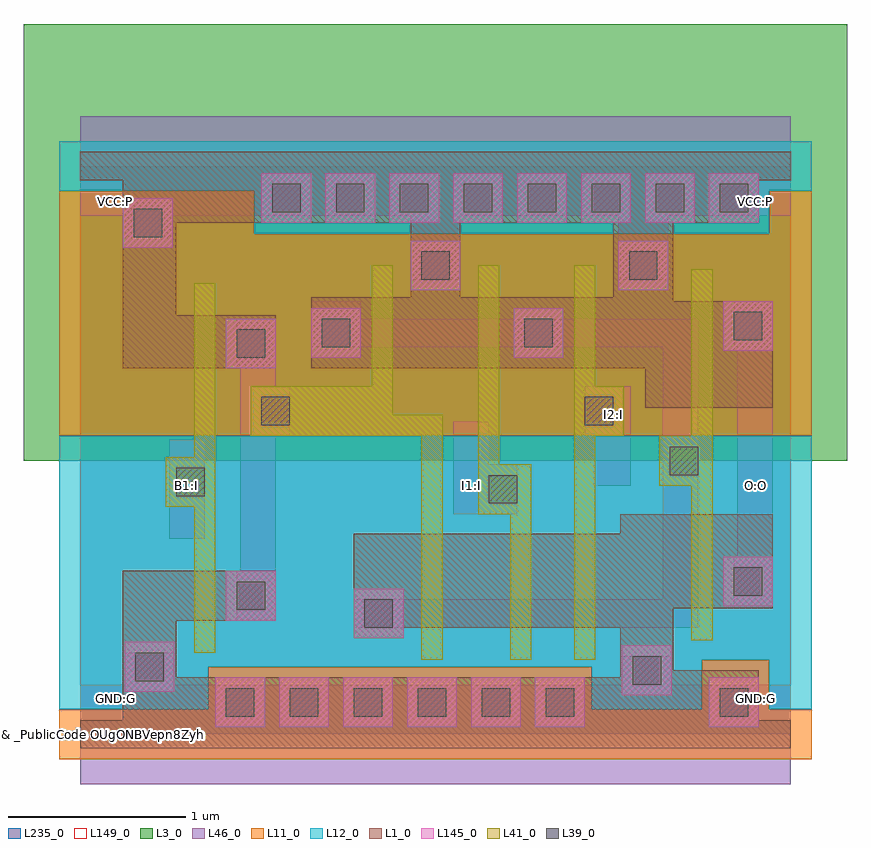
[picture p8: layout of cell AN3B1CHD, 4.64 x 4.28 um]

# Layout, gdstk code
from math import pi, radians
import gdstk
lib = gdstk.Library(unit=1e-6, precision=1e-09)
def R(c, l, rs):  # rectangles x0, y0, x1, y1
    for r in rs: c.add(gdstk.rectangle(r[:2], r[2:], *l))
def P(c, l, *ps):  # polygons
    for p in ps: c.add(gdstk.Polygon(p, *l))
L1_0 = (1, 0)
L3_0 = (3, 0)
L11_0 = (11, 0)
L12_0 = (12, 0)
L39_0 = (39, 0)
L41_0 = (41, 0)
L46_0 = (46, 0)
L145_0 = (145, 0)
L149_0 = (149, 0)
L235_0 = (235, 0)

c_pc = lib.new_cell('PC')
R(c_pc, L39_0, [(-0.08,-0.08,0.08,0.08)])
R(c_pc, L41_0, [(-0.14,-0.14,0.14,0.14)])
R(c_pc, L46_0, [(-0.08,-0.14,0.08,0.14)])

c_mc = lib.new_cell('MC')
R(c_mc, L39_0, [(-0.08,-0.08,0.08,0.08)])
R(c_mc, L46_0, [(-0.08,-0.14,0.08,0.14)])
R(c_mc, L145_0, [(-0.14,-0.14,0.14,0.14)])

ihlenmbacpo__41gum4xw0 = lib.new_cell('IHLENMBACPO$$41Gum4XW0')
R(ihlenmbacpo__41gum4xw0, L1_0, [(0,-0.08,4,0.08), (3.34,0.08,3.82,0.36), (1.3,2.06,1.86,2.46), (0,3.12,4,3.28)])
P(ihlenmbacpo__41gum4xw0, L1_0, [(1.1,0.92),(0.24,0.92),(0.24,0.08),(0.54,0.08),(0.54,0.64),(1.1,0.64)],
  [(0.54,3.12),(0.24,3.12),(0.24,2.06),(1.1,2.06),(1.1,2.36),(0.54,2.36)],
  [(3.9,1.24),(3.04,1.24),(3.04,0.32),(0.54,0.32),(0.54,0.08),(3.34,0.08),(3.34,0.71),(3.9,0.71)],
  [(3.04,1.13),(1.54,1.13),(1.54,0.54),(1.82,0.54),(1.82,0.6),(3.04,0.6)],
  [(3.9,2.44),(3.34,2.44),(3.34,2.88),(3.82,2.88),(3.82,3.12),(3,3.12),(3,2.46),(2.14,2.46),(2.14,2.88),(3,2.88),(3,3.12),(0.54,3.12),(0.54,2.88),(1.86,2.88),(1.86,2.06),(3.18,2.06),(3.18,1.84),(3.9,1.84)])
R(ihlenmbacpo__41gum4xw0, L3_0, [(-0.32,1.54,4.32,4)])
R(ihlenmbacpo__41gum4xw0, L11_0, [(-0.12,-0.14,4.12,0.14), (0.72,0.14,2.88,0.38), (3.5,0.14,3.88,0.42)])
P(ihlenmbacpo__41gum4xw0, L11_0, [(4.12,3.06),(3.88,3.06),(3.88,2.82),(0.98,2.82),(0.98,3.06),(-0.12,3.06),(-0.12,1.68),(4.12,1.68)],
  [(4.12,0.14),(3.88,0.14),(3.88,0.42),(3.5,0.42),(3.5,0.14),(-0.12,0.14),(-0.12,-0.14),(4.12,-0.14)])
P(ihlenmbacpo__41gum4xw0, L12_0, [(4.12,1.68),(-0.12,1.68),(-0.12,0.14),(0.72,0.14),(0.72,0.38),(2.88,0.38),(2.88,0.14),(3.5,0.14),(3.5,0.42),(3.88,0.42),(3.88,0.14),(4.12,0.14)],
  [(4.12,3.34),(-0.12,3.34),(-0.12,3.06),(0.98,3.06),(0.98,2.82),(3.88,2.82),(3.88,3.06),(4.12,3.06)])
R(ihlenmbacpo__41gum4xw0, L41_0, [(0.96,1.68,1.76,1.96)])
R(ihlenmbacpo__41gum4xw0, L46_0, [(0.25,0.28,0.53,0.46), (3.28,0.76,3.4,2.18), (1.3,2.18,1.58,2.44), (1.86,2.56,2.14,2.92), (3.03,2.56,3.31,2.92)])
R(ihlenmbacpo__41gum4xw0, L149_0, [(0,0,4,3.2)])
R(ihlenmbacpo__41gum4xw0, L235_0, [(0,0,4,3.2), (0,0,4,3.2), (0,0,4,3.2), (0,0,4,3.2), (0,0,4,3.2), (0,0,4,3.2), (0,0,4,3.2), (0,0,4,3.2), (0,0,4,3.2), (0,0,4,3.2), (0,0,4,3.2), (0,0,4,3.2)])
ihlenmbacpo__41gum4xw0.add(gdstk.FlexPath([(0,0),(4,0)], 0.56, ends="flush", simple_path=True, layer=46, datatype=0))  # L46_0
ihlenmbacpo__41gum4xw0.add(gdstk.FlexPath([(0,3.2),(4,3.2)], 0.56, ends="flush", simple_path=True, layer=46, datatype=0))  # L46_0
ihlenmbacpo__41gum4xw0.add(gdstk.FlexPath([(0.6,1.1),(0.6,1.66)], 0.2, ends="flush", simple_path=True, layer=46, datatype=0))  # L46_0
ihlenmbacpo__41gum4xw0.add(gdstk.FlexPath([(1,0.64),(1,2.34)], 0.2, ends="flush", simple_path=True, layer=46, datatype=0))  # L46_0
ihlenmbacpo__41gum4xw0.add(gdstk.FlexPath([(3,1.4),(3,1.96)], 0.2, ends="flush", simple_path=True, layer=46, datatype=0))  # L46_0
ihlenmbacpo__41gum4xw0.add(gdstk.FlexPath([(2.2,1.24),(2.2,1.76)], 0.2, ends="flush", simple_path=True, layer=46, datatype=0))  # L46_0
ihlenmbacpo__41gum4xw0.add(gdstk.FlexPath([(3.8,0.72),(3.8,2.44)], 0.2, ends="flush", simple_path=True, layer=46, datatype=0))  # L46_0
ihlenmbacpo__41gum4xw0.add(gdstk.FlexPath([(1.3,2.26),(3.4,2.26),(3.4,0.68),(1.54,0.68)], 0.16, ends="flush", simple_path=True, layer=46, datatype=0))  # L46_0
ihlenmbacpo__41gum4xw0.add(gdstk.FlexPath([(0.6,0),(0.6,3.2)], 0, ends="flush", simple_path=True, layer=145, datatype=0))  # L145_0
ihlenmbacpo__41gum4xw0.add(gdstk.FlexPath([(1,0),(1,3.2)], 0, ends="flush", simple_path=True, layer=145, datatype=0))  # L145_0
ihlenmbacpo__41gum4xw0.add(gdstk.FlexPath([(1.4,0),(1.4,3.2)], 0, ends="flush", simple_path=True, layer=145, datatype=0))  # L145_0
ihlenmbacpo__41gum4xw0.add(gdstk.FlexPath([(1.8,0),(1.8,3.2)], 0, ends="flush", simple_path=True, layer=145, datatype=0))  # L145_0
ihlenmbacpo__41gum4xw0.add(gdstk.FlexPath([(2.2,0),(2.2,3.2)], 0, ends="flush", simple_path=True, layer=145, datatype=0))  # L145_0
ihlenmbacpo__41gum4xw0.add(gdstk.FlexPath([(2.6,0),(2.6,3.2)], 0, ends="flush", simple_path=True, layer=145, datatype=0))  # L145_0
ihlenmbacpo__41gum4xw0.add(gdstk.FlexPath([(3,0),(3,3.2)], 0, ends="flush", simple_path=True, layer=145, datatype=0))  # L145_0
ihlenmbacpo__41gum4xw0.add(gdstk.FlexPath([(3.4,0),(3.4,3.2)], 0, ends="flush", simple_path=True, layer=145, datatype=0))  # L145_0
ihlenmbacpo__41gum4xw0.add(gdstk.FlexPath([(0,3),(4,3)], 0, ends="flush", simple_path=True, layer=145, datatype=0))  # L145_0
ihlenmbacpo__41gum4xw0.add(gdstk.FlexPath([(3.8,0),(3.8,3.2)], 0, ends="flush", simple_path=True, layer=145, datatype=0))  # L145_0
ihlenmbacpo__41gum4xw0.add(gdstk.FlexPath([(0,0.2),(4,0.2)], 0, ends="flush", simple_path=True, layer=145, datatype=0))  # L145_0
ihlenmbacpo__41gum4xw0.add(gdstk.FlexPath([(0,0.6),(4,0.6)], 0, ends="flush", simple_path=True, layer=145, datatype=0))  # L145_0
ihlenmbacpo__41gum4xw0.add(gdstk.FlexPath([(0,1),(4,1)], 0, ends="flush", simple_path=True, layer=145, datatype=0))  # L145_0
ihlenmbacpo__41gum4xw0.add(gdstk.FlexPath([(0,1.4),(4,1.4)], 0, ends="flush", simple_path=True, layer=145, datatype=0))  # L145_0
ihlenmbacpo__41gum4xw0.add(gdstk.FlexPath([(0,1.8),(4,1.8)], 0, ends="flush", simple_path=True, layer=145, datatype=0))  # L145_0
ihlenmbacpo__41gum4xw0.add(gdstk.FlexPath([(0,2.2),(4,2.2)], 0, ends="flush", simple_path=True, layer=145, datatype=0))  # L145_0
ihlenmbacpo__41gum4xw0.add(gdstk.FlexPath([(0,2.6),(4,2.6)], 0, ends="flush", simple_path=True, layer=145, datatype=0))  # L145_0
ihlenmbacpo__41gum4xw0.add(gdstk.FlexPath([(0.2,0),(0.2,3.2)], 0, ends="flush", simple_path=True, layer=145, datatype=0))  # L145_0
ihlenmbacpo__41gum4xw0.add(gdstk.FlexPath([(2.84,0.42),(2.84,2.64)], 0.12, ends="flush", simple_path=True, layer=41, datatype=0))  # L41_0
ihlenmbacpo__41gum4xw0.add(gdstk.FlexPath([(0.7,0.46),(0.7,2.54)], 0.12, ends="flush", simple_path=True, layer=41, datatype=0))  # L41_0
ihlenmbacpo__41gum4xw0.add(gdstk.FlexPath([(2.3,2.64),(2.3,1.46),(2.48,1.46),(2.48,0.42)], 0.12, ends="flush", simple_path=True, layer=41, datatype=0))  # L41_0
ihlenmbacpo__41gum4xw0.add(gdstk.FlexPath([(1.7,2.64),(1.7,1.74),(1.98,1.74),(1.98,0.42)], 0.12, ends="flush", simple_path=True, layer=41, datatype=0))  # L41_0
ihlenmbacpo__41gum4xw0.add(gdstk.FlexPath([(3.5,0.53),(3.5,2.62)], 0.12, ends="flush", simple_path=True, layer=41, datatype=0))  # L41_0
r = gdstk.Reference(c_pc, (2.38,1.38)); r.repetition = gdstk.Repetition(1, 1, v1=(0.28,0), v2=(0,0.32)); ihlenmbacpo__41gum4xw0.add(r)
r = gdstk.Reference(c_pc, (3.4,1.54)); r.repetition = gdstk.Repetition(1, 1, v1=(0.28,0), v2=(0,0.32)); ihlenmbacpo__41gum4xw0.add(r)
r = gdstk.Reference(c_pc, (1.1,1.82)); r.repetition = gdstk.Repetition(1, 1, v1=(0.28,0), v2=(0,0.32)); ihlenmbacpo__41gum4xw0.add(r)
r = gdstk.Reference(c_pc, (0.62,1.42)); r.repetition = gdstk.Repetition(1, 1, v1=(0.28,0), v2=(0,0.32)); ihlenmbacpo__41gum4xw0.add(r)
r = gdstk.Reference(c_pc, (2.92,1.82)); r.repetition = gdstk.Repetition(1, 1, v1=(0.28,0), v2=(0,0.32)); ihlenmbacpo__41gum4xw0.add(r)
r = gdstk.Reference(c_mc, (3.32,3.02), rotation=pi/2); r.repetition = gdstk.Repetition(1, 1, v1=(0,0.28), v2=(-0.32,0)); ihlenmbacpo__41gum4xw0.add(r)
r = gdstk.Reference(c_mc, (3.76,2.3)); r.repetition = gdstk.Repetition(1, 1, v1=(0.28,0), v2=(0,0.32)); ihlenmbacpo__41gum4xw0.add(r)
r = gdstk.Reference(c_mc, (2.6,3.02), rotation=pi/2); r.repetition = gdstk.Repetition(1, 1, v1=(0,0.28), v2=(-0.32,0)); ihlenmbacpo__41gum4xw0.add(r)
r = gdstk.Reference(c_mc, (1.68,0.68), rotation=pi/2); r.repetition = gdstk.Repetition(1, 1, v1=(0,0.28), v2=(-0.32,0)); ihlenmbacpo__41gum4xw0.add(r)
r = gdstk.Reference(c_mc, (3.76,0.86)); r.repetition = gdstk.Repetition(1, 1, v1=(0.28,0), v2=(0,0.32)); ihlenmbacpo__41gum4xw0.add(r)
r = gdstk.Reference(c_mc, (3.68,3.02), rotation=pi/2); r.repetition = gdstk.Repetition(1, 1, v1=(0,0.28), v2=(-0.32,0)); ihlenmbacpo__41gum4xw0.add(r)
r = gdstk.Reference(c_mc, (1.62,0.18), rotation=pi/2); r.repetition = gdstk.Repetition(1, 1, v1=(0,0.28), v2=(-0.32,0)); ihlenmbacpo__41gum4xw0.add(r)
r = gdstk.Reference(c_mc, (3.19,0.36), rotation=pi/2); r.repetition = gdstk.Repetition(1, 1, v1=(0,0.28), v2=(-0.32,0)); ihlenmbacpo__41gum4xw0.add(r)
r = gdstk.Reference(c_mc, (3.17,2.64), rotation=pi/2); r.repetition = gdstk.Repetition(1, 1, v1=(0,0.28), v2=(-0.32,0)); ihlenmbacpo__41gum4xw0.add(r)
r = gdstk.Reference(c_mc, (1.44,2.26), rotation=pi/2); r.repetition = gdstk.Repetition(1, 1, v1=(0,0.28), v2=(-0.32,0)); ihlenmbacpo__41gum4xw0.add(r)
r = gdstk.Reference(c_mc, (2,2.64), rotation=pi/2); r.repetition = gdstk.Repetition(1, 1, v1=(0,0.28), v2=(-0.32,0)); ihlenmbacpo__41gum4xw0.add(r)
r = gdstk.Reference(c_mc, (1.52,3.02), rotation=pi/2); r.repetition = gdstk.Repetition(1, 1, v1=(0,0.28), v2=(-0.32,0)); ihlenmbacpo__41gum4xw0.add(r)
r = gdstk.Reference(c_mc, (2.96,3.02), rotation=pi/2); r.repetition = gdstk.Repetition(1, 1, v1=(0,0.28), v2=(-0.32,0)); ihlenmbacpo__41gum4xw0.add(r)
r = gdstk.Reference(c_mc, (2.24,3.02), rotation=pi/2); r.repetition = gdstk.Repetition(1, 1, v1=(0,0.28), v2=(-0.32,0)); ihlenmbacpo__41gum4xw0.add(r)
r = gdstk.Reference(c_mc, (1.26,0.18), rotation=pi/2); r.repetition = gdstk.Repetition(1, 1, v1=(0,0.28), v2=(-0.32,0)); ihlenmbacpo__41gum4xw0.add(r)
r = gdstk.Reference(c_mc, (2.34,0.18), rotation=pi/2); r.repetition = gdstk.Repetition(1, 1, v1=(0,0.28), v2=(-0.32,0)); ihlenmbacpo__41gum4xw0.add(r)
r = gdstk.Reference(c_mc, (2.7,0.18), rotation=pi/2); r.repetition = gdstk.Repetition(1, 1, v1=(0,0.28), v2=(-0.32,0)); ihlenmbacpo__41gum4xw0.add(r)
r = gdstk.Reference(c_mc, (1.98,0.18), rotation=pi/2); r.repetition = gdstk.Repetition(1, 1, v1=(0,0.28), v2=(-0.32,0)); ihlenmbacpo__41gum4xw0.add(r)
r = gdstk.Reference(c_mc, (1.88,3.02), rotation=pi/2); r.repetition = gdstk.Repetition(1, 1, v1=(0,0.28), v2=(-0.32,0)); ihlenmbacpo__41gum4xw0.add(r)
r = gdstk.Reference(c_mc, (0.96,0.78)); r.repetition = gdstk.Repetition(1, 1, v1=(0.28,0), v2=(0,0.32)); ihlenmbacpo__41gum4xw0.add(r)
r = gdstk.Reference(c_mc, (0.96,2.2)); r.repetition = gdstk.Repetition(1, 1, v1=(0.28,0), v2=(0,0.32)); ihlenmbacpo__41gum4xw0.add(r)
r = gdstk.Reference(c_mc, (0.38,2.88), rotation=pi/2); r.repetition = gdstk.Repetition(1, 1, v1=(0,0.28), v2=(-0.32,0)); ihlenmbacpo__41gum4xw0.add(r)
r = gdstk.Reference(c_mc, (0.39,0.38), rotation=pi/2); r.repetition = gdstk.Repetition(1, 1, v1=(0,0.28), v2=(-0.32,0)); ihlenmbacpo__41gum4xw0.add(r)
r = gdstk.Reference(c_mc, (0.9,0.18), rotation=pi/2); r.repetition = gdstk.Repetition(1, 1, v1=(0,0.28), v2=(-0.32,0)); ihlenmbacpo__41gum4xw0.add(r)
r = gdstk.Reference(c_mc, (1.16,3.02), rotation=pi/2); r.repetition = gdstk.Repetition(1, 1, v1=(0,0.28), v2=(-0.32,0)); ihlenmbacpo__41gum4xw0.add(r)
r = gdstk.Reference(c_mc, (2.58,2.26), rotation=pi/2); r.repetition = gdstk.Repetition(1, 1, v1=(0,0.28), v2=(-0.32,0)); ihlenmbacpo__41gum4xw0.add(r)
r = gdstk.Reference(c_mc, (3.68,0.18), rotation=pi/2, x_reflection=True); r.repetition = gdstk.Repetition(1, 1, v1=(0,0.28), v2=(0.32,0)); ihlenmbacpo__41gum4xw0.add(r)
ihlenmbacpo__41gum4xw0.add(gdstk.Label('#Id:7JQJaQKD4XF6RXVVXbbHNLABMd99ZLLaK99JL0406EKC574D4A3EOSP8MXXWHY99T6WBH22210RAL9', (0.02,0.02), layer=147, texttype=0))
ihlenmbacpo__41gum4xw0.add(gdstk.Label('AN3B1CHD', (0,0), layer=144, texttype=0))
ihlenmbacpo__41gum4xw0.add(gdstk.Label('VCC:P', (0.2,3), layer=101, texttype=0))
ihlenmbacpo__41gum4xw0.add(gdstk.Label('VCC:P', (3.8,3), layer=101, texttype=0))
ihlenmbacpo__41gum4xw0.add(gdstk.Label('GND:G', (0.2,0.2), layer=101, texttype=0))
ihlenmbacpo__41gum4xw0.add(gdstk.Label('GND:G', (3.8,0.2), layer=101, texttype=0))
ihlenmbacpo__41gum4xw0.add(gdstk.Label('B1:I', (0.6,1.4), layer=101, texttype=0))
ihlenmbacpo__41gum4xw0.add(gdstk.Label('O:O', (3.8,1.4), layer=101, texttype=0))
ihlenmbacpo__41gum4xw0.add(gdstk.Label('I2:I', (3,1.8), layer=101, texttype=0))
ihlenmbacpo__41gum4xw0.add(gdstk.Label('I1:I', (2.2,1.4), layer=101, texttype=0))

an3b1chd = lib.new_cell('AN3B1CHD')
R(an3b1chd, L149_0, [(0,0,4,3.2)])
an3b1chd.add(gdstk.Reference(ihlenmbacpo__41gum4xw0, (0,0)))
an3b1chd.add(gdstk.Label('& _PublicCode OUgONBVepn8Zyhuhb7nzKSFGv0ozQ4p7', (0,0), layer=3, texttype=0))
an3b1chd.add(gdstk.Label('& Metric 12.80', (0,0), layer=3, texttype=0))
an3b1chd.add(gdstk.Label('& Version 2009Q1V3.0', (0,0), layer=3, texttype=0))
an3b1chd.add(gdstk.Label('& Product FSC0H_D_GENERIC_CORE', (0,0), layer=3, texttype=0))
an3b1chd.add(gdstk.Label('& Vendor Faraday_Technology_Corp.', (0,0), layer=3, texttype=0))
an3b1chd.add(gdstk.Label('#Id:7JQJaQKD4XF6RXVVXbbHNLABMd99ZLLaK99JL0406EKC574D4A3EOSP8MXXWHY99T6WBH22210RAL9', (0.02,0.02), layer=147, texttype=0))
an3b1chd.add(gdstk.Label('AN3B1CHD', (0,0), layer=144, texttype=0))
an3b1chd.add(gdstk.Label('VCC:P', (0.2,3), layer=101, texttype=0))
an3b1chd.add(gdstk.Label('VCC:P', (3.8,3), layer=101, texttype=0))
an3b1chd.add(gdstk.Label('GND:G', (0.2,0.2), layer=101, texttype=0))
an3b1chd.add(gdstk.Label('GND:G', (3.8,0.2), layer=101, texttype=0))
an3b1chd.add(gdstk.Label('B1:I', (0.6,1.4), layer=101, texttype=0))
an3b1chd.add(gdstk.Label('O:O', (3.8,1.4), layer=101, texttype=0))
an3b1chd.add(gdstk.Label('I2:I', (3,1.8), layer=101, texttype=0))
an3b1chd.add(gdstk.Label('I1:I', (2.2,1.4), layer=101, texttype=0))

lib.write_gds('AN3B1CHD.gds')
